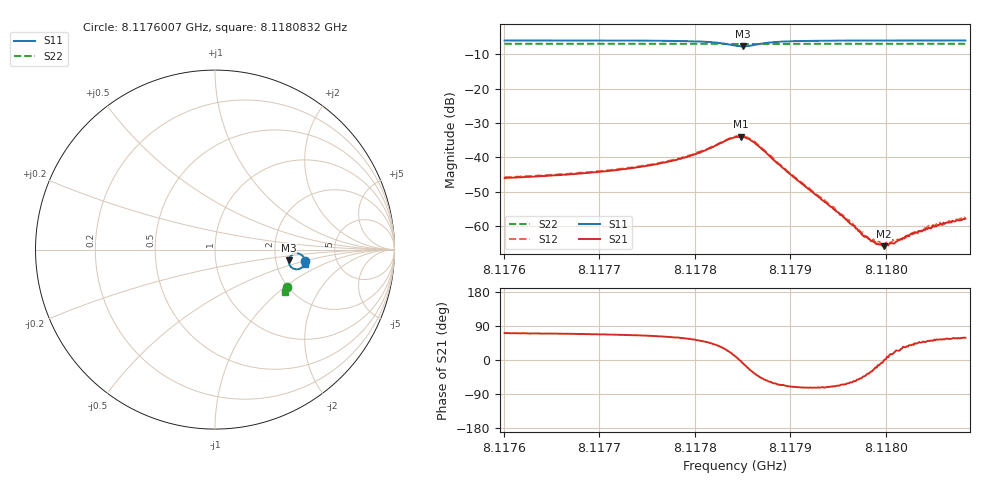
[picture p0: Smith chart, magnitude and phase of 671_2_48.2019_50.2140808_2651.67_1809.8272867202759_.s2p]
#  HZ  S  RI  R  50.00
! Rohde & Schwarz Vector Network Analyzer
! Rohde-Schwarz,ZNB20-2Port,1311601062101988,3.16
! Created: UTC 3/20/2024, 12:06:08 PM
! freq[Hz]  re:S11  im:S11  re:S21  im:S21  re:S12  im:S12  re:S22  im:S22
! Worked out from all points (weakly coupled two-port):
!   401 points, 8.1176007 GHz to 8.1180832 GHz, reference 50 ohm
!   highest |S21| = -33.95 dB at 8.117848 GHz (marker M1); lowest = -65.9 dB at 8.1179975 GHz (marker M2)
!   lowest |S11| = -7.6 dB at 8.1178504 GHz (marker M3), VSWR 2.42, Z = 118 - j16.8 ohm
!   |S11| at or under -10 dB: nowhere
!   |S22| runs from -6.9 to -6.9 dB; largest |S21 - S12| = 0.00073
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8.11760068e9  0.5027 -0.0633  0.00162 0.0047  0.00169 0.00477  0.4022 -0.2079
8.1176815e9  0.5004 -0.0733  0.00215 0.00542  0.00219 0.00552  0.3997 -0.2133
8.11776231e9  0.4935 -0.0886  0.00371 0.00715  0.00385 0.00729  0.3969 -0.2186
8.1177985e9  0.4819 -0.101  0.00635 0.00879  0.00652 0.00907  0.3951 -0.2212
8.11782745e9  0.4491 -0.1097  0.0134 0.00909  0.0136 0.00931  0.3927 -0.2228
8.11784192e9  0.4174 -0.0891  0.0193 0.00357  0.0198 0.00371  0.3912 -0.2224
8.11784795e9  0.4106 -0.0682  0.02 -0.00112  0.0206 -0.000964  0.3908 -0.2218
8.11785037e9  0.411 -0.059  0.0195 -0.0031  0.0201 -0.00288  0.391 -0.2216
8.11786364e9  0.4393 -0.0237  0.0124 -0.00964  0.0129 -0.01  0.3922 -0.2211
8.11788655e9  0.4823 -0.03  0.00344 -0.00736  0.00365 -0.00753  0.3933 -0.2233
8.11792274e9  0.4976 -0.0508  0.000896 -0.00298  0.00099 -0.00307  0.3927 -0.2265
8.11795651e9  0.5001 -0.0616  0.000564 -0.00119  0.000583 -0.00116  0.3916 -0.2289
8.11797702e9  0.5007 -0.0661  0.00051 -0.000473  0.000538 -0.000498  0.3909 -0.2303
8.11798667e9  0.5008 -0.068  0.000527 -0.000256  0.000564 -0.00029  0.3906 -0.2309
8.11799753e9  0.5007 -0.0699  0.000505 -2.02e-05  0.000568 -1.92e-05  0.3901 -0.2317
8.11800356e9  0.5007 -0.071  0.000541 0.000119  0.000568 4.69e-05  0.3901 -0.232
8.11800959e9  0.5008 -0.0719  0.000527 0.000213  0.000551 0.000243  0.3896 -0.2324
8.11802286e9  0.5006 -0.0738  0.000585 0.000417  0.000605 0.000413  0.3894 -0.2332
8.11802889e9  0.5005 -0.0748  0.000602 0.000502  0.000597 0.000495  0.3891 -0.2337
8.11803492e9  0.5006 -0.0756  0.000572 0.000619  0.000598 0.000584  0.3889 -0.2342
8.11804216e9  0.5005 -0.0765  0.000597 0.000681  0.000583 0.000682  0.3887 -0.2347
8.11808317e9  0.5001 -0.0814  0.00066 0.00109  0.000677 0.00109  0.3873 -0.2372
